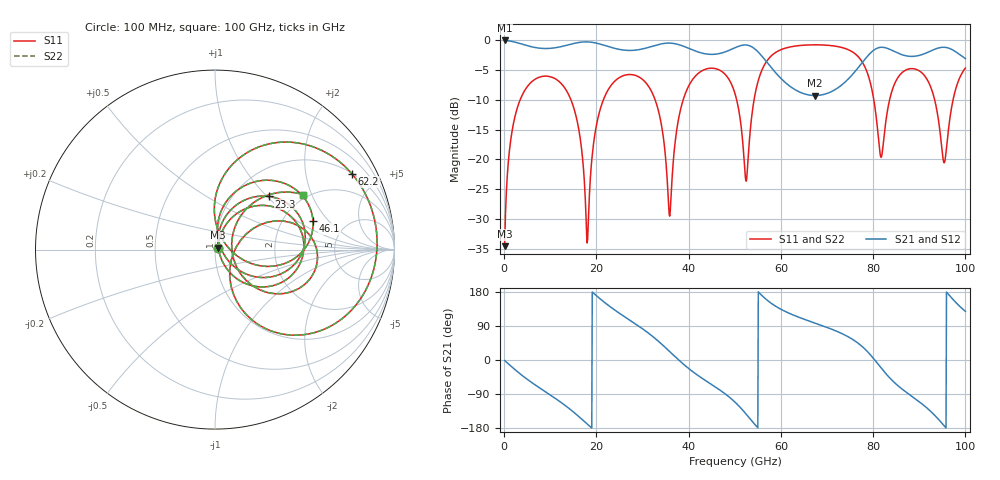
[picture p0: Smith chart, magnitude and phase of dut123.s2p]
! Touchstone file exported from HFSS 2026.1.0
!  File:  C:/ffzhzh/LocalFiles/Ansys_Project_Files/temp_train_TSV_RDL_123_1783637669_33328.aedt
!  Generated:  07:01:12 AM Jul 10, 2026
!  Design:  TSV_RDL
!  Project:  temp_train_TSV_RDL_123_1783637669_33328
! Variables:
!  h_bsmrdl = 4.87um
!  h_ox = 20um
!  h_rdl = 5um
!  h_sub = 94.48um
!  h_tmrdl = 3.95um
!  h_tsv = 94.48um
!  h_via = 3um
!  l_bsmrdl = 170.38um
!  l_sub = 2790.62um
!  l_tmrdl = 450.25um
!  m_sub = 200um
!  pitch = 46.52um
!  r_tsv = 11.56um
!  s_tmrdl = 10um
!  w_bsmrdl = 11.13um
!  w_sub = 500um
!  w_tmrdl = 15.03um
!  x_tsv_center1 = 457.765um
!  x_tsv_center2 = 639.275um
!  x_tsv_center3 = 1104.555um
!  x_tsv_center4 = 1286.065um
!  x_tsv_center5 = 1751.345um
!  x_tsv_center6 = 1932.855um
# GHz S MA R 50.000000
! Terminal data exported
! Port[1] = TM_RDL1_1_T1
! Port[2] = TM_RDL5_1_T1
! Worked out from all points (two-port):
!   1000 points, 100 MHz to 100 GHz, reference 50 ohm
!   highest |S21| = -0.13 dB at 100 MHz (marker M1); lowest = -9.3 dB at 67.4 GHz (marker M2)
!   |S21| within 3 dB of the highest: start of sweep to 56.3 GHz; 78.37 GHz to 99.94 GHz (21.57 GHz wide, 24.2 % of centre)
!   lowest |S11| = -34.5 dB at 100 MHz (marker M3), VSWR 1.04, Z = 51.6 + j1.1 ohm
!   |S11| at or under -10 dB: 14.46 GHz to 21.54 GHz (7.082 GHz wide, 39.3 % of centre); 32.71 GHz to 38.83 GHz (6.126 GHz wide, 17.1 % of centre); 93.32 GHz to 97.34 GHz (4.016 GHz wide, 4.21 % of centre) (the widest 3 of 6)
!   |S22| runs from -34.5 to -0.9 dB; largest |S21 - S12| = 4.3e-14
!   S11 on the Smith chart (normalised r, x): 100 MHz: 1.03, +0.02; 23.3 GHz: 1.42, +1.02; 46.1 GHz: 2.92, +1.39; 62.2 GHz: 1.03, +3.61; 100 GHz: 1.89, +1.74
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0.1  0.01889 34.5  0.9846 -1.1  0.9846 -1.1  0.01889 34.5
! Gamma 0 0 0 0
! Port Impedance 50 0 50 0
1.9  0.189 63.3  0.9622 -20.7  0.9622 -20.7  0.189 63.3
5.8  0.4386 29.2  0.8747 -57.9  0.8747 -57.9  0.4386 29.2
16.8  0.1214 -58.5  0.9536 -155.8  0.9536 -155.8  0.1214 -58.5
18.1  0.02161 30.6  0.9573 -169.9  0.9573 -169.9  0.02154 30.5
23.3  0.4209 44.8  0.8596 137.8  0.8596 137.8  0.4209 44.8
33.4  0.2591 -35.0  0.9093 50.0  0.9093 50.0  0.259 -35.1
35.9  0.03364 25.9  0.936 22.1  0.936 22.1  0.03326 26.0
39.2  0.3481 69.9  0.8711 -14.4  0.8711 -14.4  0.3481 70.0
46.1  0.5692 16.4  0.7586 -73.8  0.7586 -73.8  0.5692 16.5
50.1  0.3489 -15.1  0.8581 -111.7  0.8581 -111.7  0.3491 -15.0
52.5  0.06596 40.9  0.9021 -143.3  0.9021 -143.3  0.06646 40.7
55.6  0.5227 75.5  0.75 173.5  0.75 173.5  0.5226 75.5
62.2  0.8722 28.9  0.402 121.1  0.402 121.1  0.8721 28.9
66.7  0.9048 9.9  0.3427 100.4  0.3427 100.4  0.9047 9.9
67.4  0.9054 7.1  0.3416 97.4  0.3416 97.4  0.9053 7.2
77.6  0.654 -46.8  0.6408 35.8  0.6408 35.8  0.6537 -46.9
81.6  0.1065 -29.1  0.863 -19.1  0.863 -19.1  0.1049 -29.1
83.4  0.2944 28.5  0.8365 -44.8  0.8365 -44.8  0.2941 28.9
90.3  0.5388 -20.6  0.7443 -113.1  0.7443 -113.1  0.539 -20.4
94.8  0.1342 -34.1  0.8618 -165.2  0.8618 -165.2  0.1349 -33.7
100  0.5794 31.9  0.6945 128.4  0.6945 128.4  0.5794 32.0
